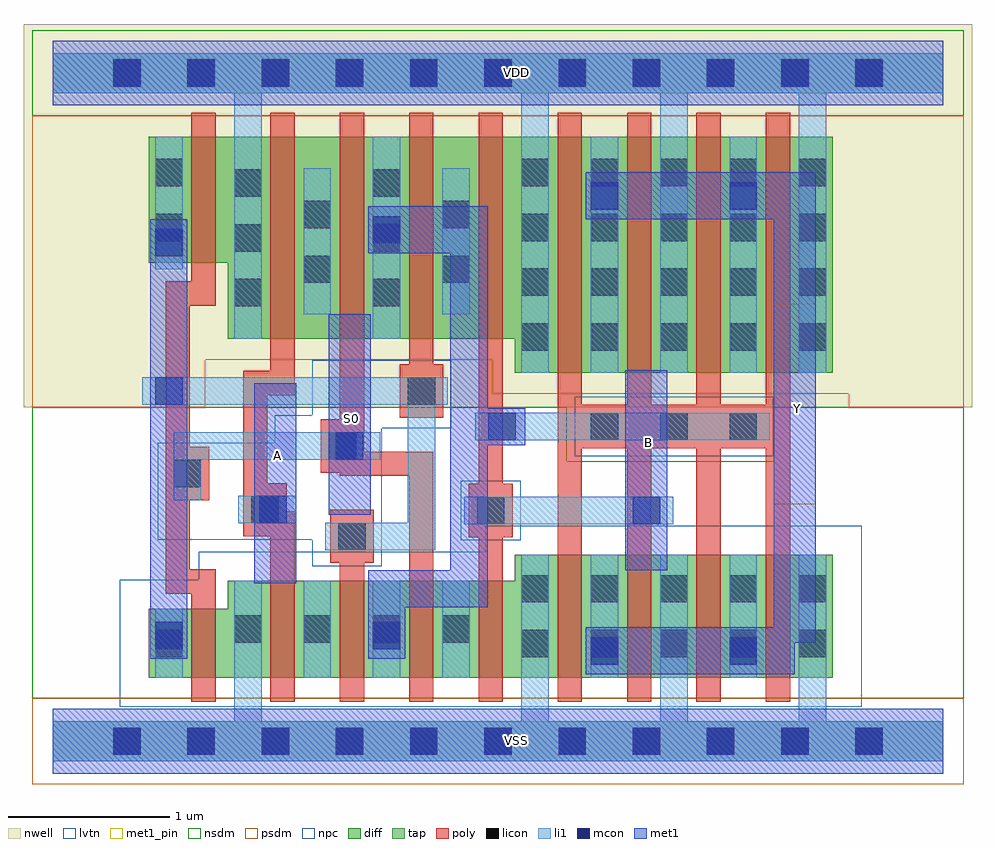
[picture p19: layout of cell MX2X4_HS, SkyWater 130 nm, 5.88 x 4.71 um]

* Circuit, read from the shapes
.subckt MX2X4_HS A B S0 VDD VSS Y
XM1 VSS S0 n1 VSS sky130_fd_pr__nfet_01v8_lvt w=0.425 l=0.15
XM2 n2 A VSS VSS sky130_fd_pr__nfet_01v8_lvt w=0.6 l=0.15
XM3 n3 n1 n2 VSS sky130_fd_pr__nfet_01v8_lvt w=0.6 l=0.15
XM4 n4 S0 n3 VSS sky130_fd_pr__nfet_01v8_lvt w=0.6 l=0.15
XM5 VSS B n4 VSS sky130_fd_pr__nfet_01v8_lvt w=0.6 l=0.15
XM6 Y n3 VSS VSS sky130_fd_pr__nfet_01v8_lvt w=0.76 l=0.15 m=4
XM7 VDD S0 n1 VDD sky130_fd_pr__pfet_01v8 w=0.78 l=0.15
XM8 n5 A VDD VDD sky130_fd_pr__pfet_01v8 w=1.25 l=0.15
XM9 n3 S0 n5 VDD sky130_fd_pr__pfet_01v8 w=1.25 l=0.15
XM10 n6 n1 n3 VDD sky130_fd_pr__pfet_01v8 w=1.25 l=0.15
XM11 VDD B n6 VDD sky130_fd_pr__pfet_01v8 w=1.25 l=0.15
XM12 Y n3 VDD VDD sky130_fd_pr__pfet_01v8 w=1.46 l=0.15 m=4
.ends

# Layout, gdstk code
from math import pi, radians
import gdstk
lib = gdstk.Library(unit=1e-6, precision=1e-09)
def R(c, l, rs):  # rectangles x0, y0, x1, y1
    for r in rs: c.add(gdstk.rectangle(r[:2], r[2:], *l))
def A(c, l, x, y, w, h, nx, ny, dx, dy):  # array of equal rectangles
    R(c, l, [(x+i*dx, y+j*dy, x+i*dx+w, y+j*dy+h) for i in range(nx) for j in range(ny)])
def P(c, l, *ps):  # polygons
    for p in ps: c.add(gdstk.Polygon(p, *l))
nwell = (64, 20)
diff = (65, 20)
tap = (65, 44)
poly = (66, 20)
licon = (66, 44)
li1 = (67, 20)
mcon = (67, 44)
met1_pin = (68, 16)
met1 = (68, 20)
nsdm = (93, 44)
psdm = (94, 20)
npc = (95, 20)
lvtn = (125, 44)

pyl1con_c_cdns_752016586 = lib.new_cell('PYL1CON_C_CDNS_752016586813')
R(pyl1con_c_cdns_752016586, poly, [(-0.135,-0.165,0.135,0.165)])
R(pyl1con_c_cdns_752016586, licon, [(-0.085,-0.085,0.085,0.085)])
R(pyl1con_c_cdns_752016586, npc, [(-0.185,-0.185,0.185,0.185)])

l1m1_c_cdns_752016586812 = lib.new_cell('L1M1_C_CDNS_752016586812')
R(l1m1_c_cdns_752016586812, li1, [(-0.085,-0.165,0.085,0.165)])
R(l1m1_c_cdns_752016586812, mcon, [(-0.085,-0.085,0.085,0.085)])
R(l1m1_c_cdns_752016586812, met1, [(-0.115,-0.145,0.115,0.145)])

l1m1_c_cdns_752016586814 = lib.new_cell('L1M1_C_CDNS_752016586814')
R(l1m1_c_cdns_752016586814, li1, [(-0.085,-0.165,0.085,0.165)])
R(l1m1_c_cdns_752016586814, mcon, [(-0.085,-0.085,0.085,0.085)])
R(l1m1_c_cdns_752016586814, met1, [(-0.145,-0.115,0.145,0.115)])

c_l1m1_c_cdns_752016586812 = lib.new_cell('L1M1_C_CDNS_7520165868121')
R(c_l1m1_c_cdns_752016586812, li1, [(-0.165,-0.085,0.145,0.085)])
R(c_l1m1_c_cdns_752016586812, mcon, [(-0.085,-0.085,0.085,0.085)])
R(c_l1m1_c_cdns_752016586812, met1, [(-0.115,-0.145,0.115,0.145)])

l1m1_c_cdns_752016586811 = lib.new_cell('L1M1_C_CDNS_752016586811')
R(l1m1_c_cdns_752016586811, li1, [(-0.165,-0.085,0.165,0.085)])
R(l1m1_c_cdns_752016586811, mcon, [(-0.085,-0.085,0.085,0.085)])
R(l1m1_c_cdns_752016586811, met1, [(-0.115,-0.145,0.115,0.145)])

licondiff_c_cdns_7520165 = lib.new_cell('LICONDIFF_C_CDNS_752016586819')
R(licondiff_c_cdns_7520165, diff, [(-0.125,-0.145,0.125,0.145)])
R(licondiff_c_cdns_7520165, licon, [(-0.085,-0.085,0.085,0.085), (-0.085,-0.085,0.085,0.085)])

mx2x4_hs = lib.new_cell('MX2X4_HS')
R(mx2x4_hs, nwell, [(-0.18,2.07,5.7,4.445)])
P(mx2x4_hs, diff, [(4.835,3.745),(0.595,3.745),(0.595,2.965),(1.085,2.965),(1.085,2.495),(2.865,2.495),(2.865,2.285),(4.835,2.285)],
  [(4.835,1.155),(2.865,1.155),(2.865,0.995),(1.085,0.995),(1.085,0.82),(0.595,0.82),(0.595,0.395),(4.835,0.395)])
A(mx2x4_hs, poly, 3.13, 0.245, 0.15, 3.65, 4, 1, 0.43, 0)
R(mx2x4_hs, poly, [(1.78,0.245,1.93,1.435), (2.64,0.245,2.79,3.895), (1.78,1.845,1.93,3.895), (2.21,2.175,2.36,3.895)])
P(mx2x4_hs, poly, [(1.01,1.065),(0.85,1.065),(0.85,2.7),(1.01,2.7),(1.01,3.895),(0.86,3.895),(0.86,2.85),(0.7,2.85),(0.7,0.915),(0.86,0.915),(0.86,0.245),(1.01,0.245)],
  [(1.5,1.425),(1.33,1.425),(1.33,2.145),(1.5,2.145),(1.5,3.895),(1.35,3.895),(1.35,2.295),(1.18,2.295),(1.18,1.275),(1.35,1.275),(1.35,0.245),(1.5,0.245)],
  [(2.36,1.795),(1.78,1.795),(1.78,1.645),(2.21,1.645),(2.21,0.245),(2.36,0.245)])
A(mx2x4_hs, licon, 0.375, -0.085, 0.17, 0.17, 11, 2, 0.46, 4.14)
A(mx2x4_hs, licon, 2.905, 0.52, 0.17, 0.17, 5, 2, 0.43, 0.34)
A(mx2x4_hs, licon, 2.905, 2.42, 0.17, 0.17, 5, 4, 0.43, 0.34)
A(mx2x4_hs, licon, 1.125, 2.695, 0.17, 0.17, 1, 3, 0, 0.34)
A(mx2x4_hs, licon, 1.985, 2.695, 0.17, 0.17, 1, 3, 0, 0.34)
R(mx2x4_hs, licon, [(0.635,0.52,0.805,0.69), (1.125,0.61,1.295,0.78), (1.985,0.61,2.155,0.78), (0.635,3.1,0.805,3.27), (0.635,3.44,0.805,3.61)])
R(mx2x4_hs, li1, [(0.635,0.395,0.805,0.82), (1.985,0.395,2.155,0.995), (3.335,0.395,3.505,1.155), (4.195,0.395,4.365,1.155), (3.335,2.285,3.505,3.745), (4.195,2.285,4.365,3.745), (1.985,2.495,2.155,3.745), (0.635,2.965,0.805,3.745)])
P(mx2x4_hs, li1, [(2.45,2.255),(0.555,2.255),(0.555,2.085),(2.2,2.085),(2.2,1.355),(1.69,1.355),(1.69,1.185),(2.37,1.185),(2.37,2.085),(2.45,2.085)],
  [(5.52,4.265),(0,4.265),(0,4.015),(1.125,4.015),(1.125,2.495),(1.295,2.495),(1.295,4.015),(2.905,4.015),(2.905,2.285),(3.075,2.285),(3.075,4.015),(3.765,4.015),(3.765,2.285),(3.935,2.285),(3.935,4.015),(4.625,4.015),(4.625,2.285),(4.795,2.285),(4.795,4.015),(5.52,4.015)],
  [(5.52,0.125),(4.795,0.125),(4.795,1.155),(4.625,1.155),(4.625,0.125),(3.935,0.125),(3.935,1.155),(3.765,1.155),(3.765,0.125),(3.075,0.125),(3.075,1.155),(2.905,1.155),(2.905,0.125),(1.295,0.125),(1.295,0.995),(1.125,0.995),(1.125,0.125),(0,0.125),(0,-0.125),(5.52,-0.125)])
A(mx2x4_hs, mcon, 0.375, -0.085, 0.17, 0.17, 11, 2, 0.46, 4.14)
R(mx2x4_hs, met1_pin, [(1.25,0.98,1.51,2.22), (3.55,1.06,3.81,2.3), (1.71,1.405,1.97,2.645), (4.47,1.47,4.73,2.71)])
P(mx2x4_hs, met1, [(2.695,3.315),(1.955,3.315),(1.955,3.025),(2.465,3.025),(2.465,1.06),(1.955,1.06),(1.955,0.51),(2.185,0.51),(2.185,0.83),(2.695,0.83)],
  [(4.73,3.525),(3.42,3.525),(3.42,3.235),(4.47,3.235),(4.47,0.705),(3.42,0.705),(3.42,0.415),(4.6,0.415),(4.6,0.61),(4.73,0.61)])
R(mx2x4_hs, nsdm, [(-0.125,3.875,5.645,4.405)])
P(mx2x4_hs, nsdm, [(5.645,2.07),(4.47,2.07),(4.47,1.735),(3.185,1.735),(3.185,2.07),(-0.125,2.07),(-0.125,0.265),(5.645,0.265)])
R(mx2x4_hs, psdm, [(-0.125,-0.265,5.645,0.265)])
P(mx2x4_hs, psdm, [(5.645,3.875),(-0.125,3.875),(-0.125,2.07),(0.945,2.07),(0.945,2.365),(2.725,2.365),(2.725,2.155),(4.935,2.155),(4.935,2.07),(5.645,2.07)])
R(mx2x4_hs, npc, [(3.235,1.765,4.465,2.135)])
P(mx2x4_hs, npc, [(2.47,2.36),(1.61,2.36),(1.61,2.02),(1.375,2.02),(1.375,1.85),(0.65,1.85),(0.65,1.25),(1.61,1.25),(1.61,1.085),(2.04,1.085),(2.04,1.94),(2.47,1.94)])
P(mx2x4_hs, lvtn, [(5.015,1.335),(2.685,1.335),(2.685,1.175),(0.905,1.175),(0.905,1),(0.415,1),(0.415,0.215),(5.015,0.215)])
mx2x4_hs.add(gdstk.FlexPath([(2.9,1.95),(4.445,1.95)], 0.17, ends="flush", simple_path=True, layer=67, datatype=20))  # li1
mx2x4_hs.add(gdstk.FlexPath([(2.55,1.43),(3.68,1.43)], 0.17, ends="flush", simple_path=True, layer=67, datatype=20))  # li1
mx2x4_hs.add(gdstk.FlexPath([(1.225,1.435),(1.51,1.435)], 0.17, ends=(0.075, 0), simple_path=True, layer=67, datatype=20))  # li1
mx2x4_hs.add(gdstk.FlexPath([(2.5,2.645),(2.5,3.55)], 0.17, ends="flush", simple_path=True, layer=67, datatype=20))  # li1
mx2x4_hs.add(gdstk.FlexPath([(2.03,1.83),(0.835,1.83),(0.835,1.495)], 0.17, ends="flush", simple_path=True, layer=67, datatype=20))  # li1
mx2x4_hs.add(gdstk.FlexPath([(1.64,0.395),(1.64,0.995)], 0.17, ends="flush", simple_path=True, layer=67, datatype=20))  # li1
mx2x4_hs.add(gdstk.FlexPath([(1.64,2.645),(1.64,3.55)], 0.17, ends="flush", simple_path=True, layer=67, datatype=20))  # li1
mx2x4_hs.add(gdstk.FlexPath([(2.5,0.395),(2.5,0.995)], 0.17, ends="flush", simple_path=True, layer=67, datatype=20))  # li1
mx2x4_hs.add(gdstk.FlexPath([(0,4.14),(5.52,4.14)], 0.25, ends="flush", simple_path=True, layer=65, datatype=44))  # tap
mx2x4_hs.add(gdstk.FlexPath([(0,0),(5.52,0)], 0.25, ends="flush", simple_path=True, layer=65, datatype=44))  # tap
mx2x4_hs.add(gdstk.FlexPath([(0,4.14),(5.52,4.14)], 0.4, ends="flush", simple_path=True, layer=68, datatype=20))  # met1
mx2x4_hs.add(gdstk.FlexPath([(0,0),(5.52,0)], 0.4, ends="flush", simple_path=True, layer=68, datatype=20))  # met1
mx2x4_hs.add(gdstk.FlexPath([(0.72,0.705),(0.72,3.235)], 0.23, ends="flush", simple_path=True, layer=68, datatype=20))  # met1
mx2x4_hs.add(gdstk.FlexPath([(1.38,0.98),(1.38,2.22)], 0.26, ends="flush", simple_path=True, layer=68, datatype=20))  # met1
mx2x4_hs.add(gdstk.FlexPath([(1.84,1.405),(1.84,2.645)], 0.26, ends="flush", simple_path=True, layer=68, datatype=20))  # met1
mx2x4_hs.add(gdstk.FlexPath([(3.68,1.06),(3.68,2.3)], 0.26, ends="flush", simple_path=True, layer=68, datatype=20))  # met1
mx2x4_hs.add(gdstk.FlexPath([(0,4.14),(5.52,4.14)], 0.4, ends="flush", simple_path=True, layer=68, datatype=16))  # met1_pin
mx2x4_hs.add(gdstk.FlexPath([(0,0),(5.52,0)], 0.4, ends="flush", simple_path=True, layer=68, datatype=16))  # met1_pin
mx2x4_hs.add(gdstk.Reference(pyl1con_c_cdns_752016586, (1.315,1.435), x_reflection=True))
mx2x4_hs.add(gdstk.Reference(pyl1con_c_cdns_752016586, (1.795,1.83), x_reflection=True))
mx2x4_hs.add(gdstk.Reference(pyl1con_c_cdns_752016586, (0.835,1.66), x_reflection=True))
mx2x4_hs.add(gdstk.Reference(pyl1con_c_cdns_752016586, (2.715,1.43), x_reflection=True))
mx2x4_hs.add(gdstk.Reference(pyl1con_c_cdns_752016586, (3.42,1.95), rotation=3*pi/2))
mx2x4_hs.add(gdstk.Reference(pyl1con_c_cdns_752016586, (2.285,2.17), x_reflection=True))
mx2x4_hs.add(gdstk.Reference(pyl1con_c_cdns_752016586, (1.855,1.27)))
mx2x4_hs.add(gdstk.Reference(pyl1con_c_cdns_752016586, (3.85,1.95), rotation=3*pi/2))
mx2x4_hs.add(gdstk.Reference(pyl1con_c_cdns_752016586, (4.28,1.95), rotation=3*pi/2))
mx2x4_hs.add(gdstk.Reference(l1m1_c_cdns_752016586812, (2.785,1.95), rotation=pi/2))
mx2x4_hs.add(gdstk.Reference(l1m1_c_cdns_752016586812, (2.07,0.655)))
mx2x4_hs.add(gdstk.Reference(l1m1_c_cdns_752016586812, (2.07,3.17)))
mx2x4_hs.add(gdstk.Reference(l1m1_c_cdns_752016586812, (4.28,0.56)))
mx2x4_hs.add(gdstk.Reference(l1m1_c_cdns_752016586812, (4.28,3.38)))
mx2x4_hs.add(gdstk.Reference(l1m1_c_cdns_752016586812, (3.42,0.56)))
mx2x4_hs.add(gdstk.Reference(l1m1_c_cdns_752016586812, (3.42,3.38)))
mx2x4_hs.add(gdstk.Reference(l1m1_c_cdns_752016586812, (0.72,3.09)))
mx2x4_hs.add(gdstk.Reference(l1m1_c_cdns_752016586812, (0.72,0.655)))
mx2x4_hs.add(gdstk.Reference(l1m1_c_cdns_752016586814, (0.72,2.17), rotation=pi/2))
mx2x4_hs.add(gdstk.Reference(c_l1m1_c_cdns_752016586812, (1.365,1.435), x_reflection=True))
mx2x4_hs.add(gdstk.Reference(l1m1_c_cdns_752016586811, (1.84,1.83), x_reflection=True))
mx2x4_hs.add(gdstk.Reference(l1m1_c_cdns_752016586811, (3.68,1.43), x_reflection=True))
mx2x4_hs.add(gdstk.Reference(licondiff_c_cdns_7520165, (2.5,2.925)))
mx2x4_hs.add(gdstk.Reference(licondiff_c_cdns_7520165, (1.64,2.925)))
mx2x4_hs.add(gdstk.Reference(licondiff_c_cdns_7520165, (2.5,0.695)))
mx2x4_hs.add(gdstk.Reference(licondiff_c_cdns_7520165, (2.5,3.265)))
mx2x4_hs.add(gdstk.Reference(licondiff_c_cdns_7520165, (1.64,0.695)))
mx2x4_hs.add(gdstk.Reference(licondiff_c_cdns_7520165, (1.64,3.265)))
mx2x4_hs.add(gdstk.Label('VDD', (2.875,4.145), layer=68, texttype=5))
mx2x4_hs.add(gdstk.Label('B', (3.695,1.85), layer=68, texttype=5))
mx2x4_hs.add(gdstk.Label('A', (1.395,1.77), layer=68, texttype=5))
mx2x4_hs.add(gdstk.Label('S0', (1.855,2), layer=68, texttype=5))
mx2x4_hs.add(gdstk.Label('Y', (4.615,2.065), layer=68, texttype=5))
mx2x4_hs.add(gdstk.Label('VSS', (2.875,0.005), layer=68, texttype=5))

lib.write_gds('MX2X4_HS.gds')
